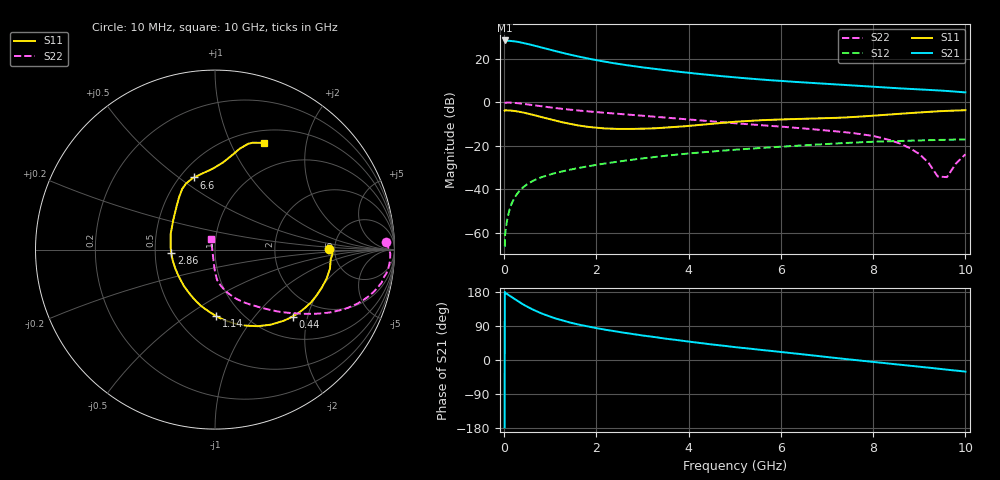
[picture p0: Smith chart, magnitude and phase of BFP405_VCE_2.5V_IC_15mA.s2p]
! Infineon Technologies  Discrete & RF Semiconductors
! BFP405
! VCE =  2.5 V,  IC =  15 mA
! Common Emitter S-Parameters:  Jan 2016
# GHz  S  MA  R  50
!  f  S11  S21  S12  S22
! GHz  MAG  ANG  MAG  ANG  MAG  ANG  MAG  ANG
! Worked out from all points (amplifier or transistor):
!   233 points, 10 MHz to 10 GHz, reference 50 ohm
!   highest |S21| = 28.3 dB at 10 MHz (marker M1)
!   |S21| within 3 dB of that: start of sweep to 771.3 MHz
!   unconditionally stable (mu >= 1): start of sweep to 18.19 MHz; 2.15 GHz to end of sweep
!   at 200 MHz: K = 0.19, MSG = 36.4 dB, |S12| = -44.9 dB
!   at 1.74 GHz: K = 0.89, MSG = 25.0 dB, |S12| = -29.7 dB
!   at 10 GHz: K = 1.37, MAG = 7.2 dB, |S12| = -17.1 dB
!   S11 on the Smith chart (normalised r, x): 10 MHz: 4.52, +0.03; 440 MHz: 1.46, -1.62; 1.14 GHz: 0.77, -0.66; 2.86 GHz: 0.61, -0.02; 6.6 GHz: 0.59, +0.57; 10 GHz: 0.65, +1.35
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0.01  0.6379 0.2  25.96 -178.0  0.0005 17.9  0.9544 2.6
0.02  0.6556 -1.9  25.83 177.4  0.0009 99.8  0.9674 0.3
0.05  0.6469 -4.7  25.53 175.6  0.0016 89.3  0.9765 -1.1
0.1  0.6493 -9.5  25.55 171.1  0.0029 87.0  0.978 -3.4
0.19  0.6338 -18.5  24.98 163.8  0.0054 82.3  0.9675 -7.1
0.3  0.6107 -28.7  24.09 155.1  0.0084 78.1  0.9469 -11.1
0.44  0.5706 -40.8  22.48 144.7  0.0118 73.7  0.9088 -15.5
0.6  0.5206 -53.5  20.48 134.3  0.0152 69.9  0.8625 -19.7
0.7  0.4888 -60.8  19.23 128.6  0.0171 68.0  0.8338 -21.9
0.9  0.431 -74.2  16.93 118.5  0.0205 65.1  0.7804 -25.5
1.14  0.3712 -88.9  14.55 108.7  0.0242 62.8  0.726 -28.9
1.4  0.3226 -104.1  12.47 99.7  0.0279 61.2  0.6766 -31.8
1.68  0.2851 -119.3  10.72 91.8  0.0319 59.9  0.633 -34.4
2.2  0.2493 -146.3  8.407 79.7  0.0394 57.7  0.5687 -38.6
2.86  0.2447 -175.8  6.567 67.3  0.0493 54.3  0.5021 -43.7
3.4  0.2571 163.7  5.554 58.2  0.0575 50.8  0.4514 -47.9
5.1  0.3606 122.9  3.623 32.8  0.0826 38.2  0.3227 -63.0
6.6  0.4183 106.1  2.787 13.2  0.1043 26.6  0.2444 -74.7
6.8  0.4232 102.8  2.698 10.6  0.1072 24.9  0.2342 -76.1
8.4  0.5254 80.6  2.122 -10.1  0.1276 10.1  0.1313 -89.2
9.4  0.617 72.7  1.861 -22.9  0.136 1.4  0.0198 -131.8
10  0.6541 65.4  1.674 -30.6  0.14 -3.1  0.0636 111.6
